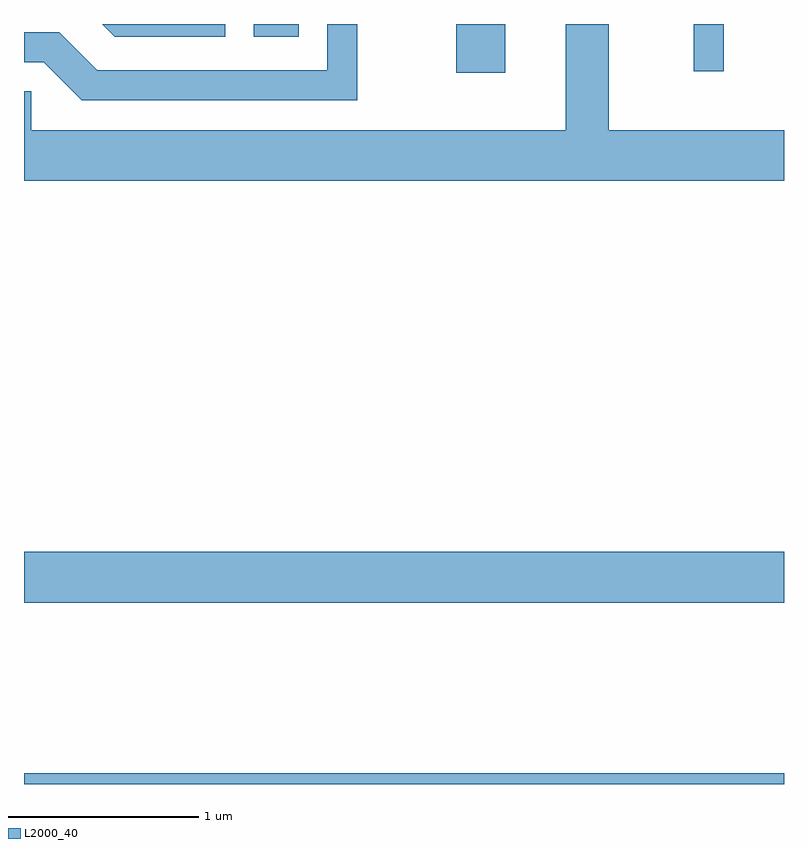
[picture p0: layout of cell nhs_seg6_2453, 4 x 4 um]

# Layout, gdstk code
import gdstk
lib = gdstk.Library(unit=1e-6, precision=1e-09)
def R(c, l, rs):  # rectangles x0, y0, x1, y1
    for r in rs: c.add(gdstk.rectangle(r[:2], r[2:], *l))
def P(c, l, *ps):  # polygons
    for p in ps: c.add(gdstk.Polygon(p, *l))
L2000_40 = (2000, 40)

nhs_seg6_2453 = lib.new_cell('nhs_seg6_2453')
R(nhs_seg6_2453, L2000_40, [(259.611,1580.162,263.611,1580.219), (259.611,1581.116,263.611,1581.384), (261.886,1583.906,262.144,1584.162), (263.136,1583.913,263.294,1584.162), (260.821,1584.096,261.058,1584.162)])
P(nhs_seg6_2453, L2000_40, [(263.611,1583.604),(262.689,1583.604),(262.689,1584.162),(262.461,1584.162),(262.461,1583.604),(259.649,1583.604),(259.649,1583.809),(259.611,1583.809),(259.611,1583.336),(263.611,1583.336)],
  [(260.669,1584.162),(260.023,1584.162),(260.089,1584.096),(260.669,1584.096)],
  [(261.364,1584.162),(261.206,1584.162),(261.206,1583.919),(259.997,1583.919),(259.796,1584.119),(259.611,1584.119),(259.611,1583.961),(259.714,1583.961),(259.914,1583.761),(261.364,1583.761)])

lib.write_gds('nhs_seg6_2453.gds')
